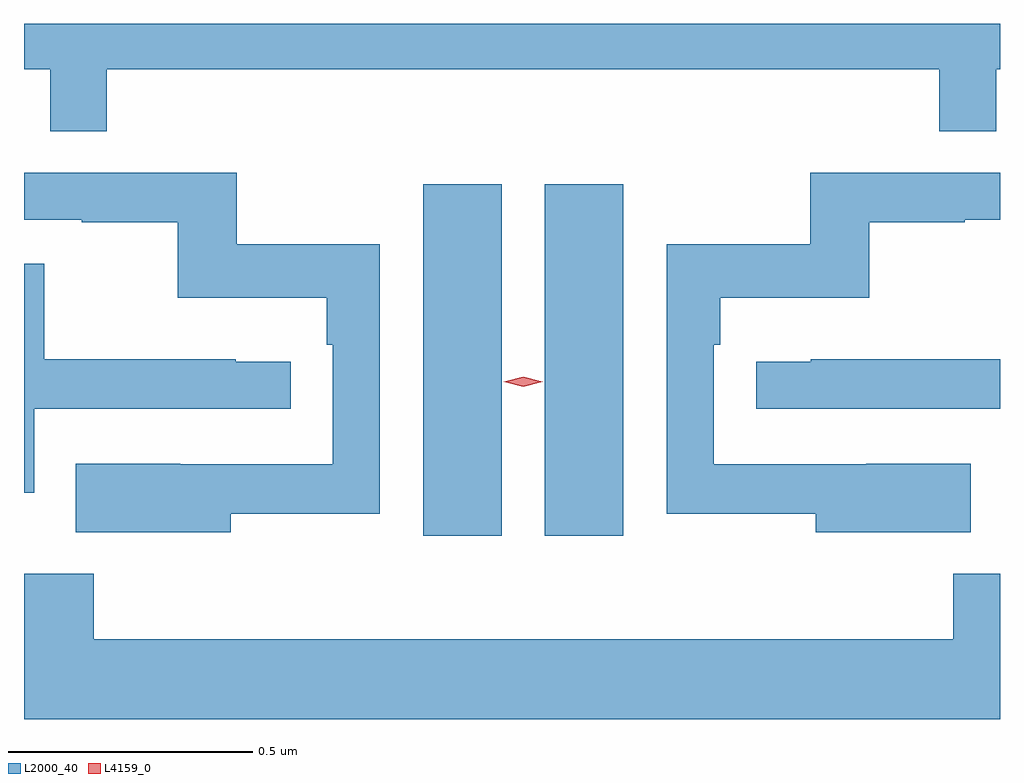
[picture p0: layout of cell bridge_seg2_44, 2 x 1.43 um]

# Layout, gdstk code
import gdstk
lib = gdstk.Library(unit=1e-6, precision=1e-09)
def R(c, l, rs):  # rectangles x0, y0, x1, y1
    for r in rs: c.add(gdstk.rectangle(r[:2], r[2:], *l))
def P(c, l, *ps):  # polygons
    for p in ps: c.add(gdstk.Polygon(p, *l))
L2000_40 = (2000, 40)
L4159_0 = (4159, 0)

bridge_seg2_44 = lib.new_cell('bridge_seg2_44')
R(bridge_seg2_44, L2000_40, [(927.011,636.024,927.172,636.745), (927.26,636.024,927.421,636.745)])
P(bridge_seg2_44, L2000_40, [(926.363,636.98),(928.069,636.98),(928.069,636.853),(928.185,636.853),(928.185,636.98),(928.193,636.98),(928.193,637.074),(926.193,637.074),(926.193,636.98),(926.247,636.98),(926.247,636.853),(926.363,636.853)],
  [(928.133,636.172),(927.919,636.172),(927.919,636.171),(927.606,636.171),(927.606,636.416),(927.62,636.416),(927.62,636.512),(927.925,636.512),(927.925,636.667),(928.121,636.667),(928.121,636.672),(928.193,636.672),(928.193,636.768),(927.804,636.768),(927.804,636.622),(927.51,636.622),(927.51,636.07),(927.815,636.07),(927.815,636.032),(928.133,636.032)],
  [(926.617,636.07),(926.922,636.07),(926.922,636.622),(926.629,636.622),(926.629,636.768),(926.193,636.768),(926.193,636.672),(926.311,636.672),(926.311,636.667),(926.508,636.667),(926.508,636.512),(926.813,636.512),(926.813,636.416),(926.826,636.416),(926.826,636.171),(926.513,636.171),(926.513,636.172),(926.299,636.172),(926.299,636.032),(926.617,636.032)],
  [(926.214,636.285),(926.74,636.285),(926.74,636.381),(926.627,636.381),(926.627,636.386),(926.234,636.386),(926.234,636.582),(926.193,636.582),(926.193,636.113),(926.214,636.113)],
  [(928.193,636.386),(927.805,636.386),(927.805,636.381),(927.693,636.381),(927.693,636.285),(928.193,636.285)],
  [(928.193,635.947),(928.097,635.947),(928.097,635.812),(926.336,635.812),(926.336,635.947),(926.193,635.947),(926.193,635.648),(928.193,635.648)])
P(bridge_seg2_44, L4159_0, [(927.216,636.33),(927.176,636.34),(927.176,636.34),(927.176,636.34),(927.216,636.35),(927.256,636.34),(927.256,636.34),(927.256,636.34)])

lib.write_gds('bridge_seg2_44.gds')
